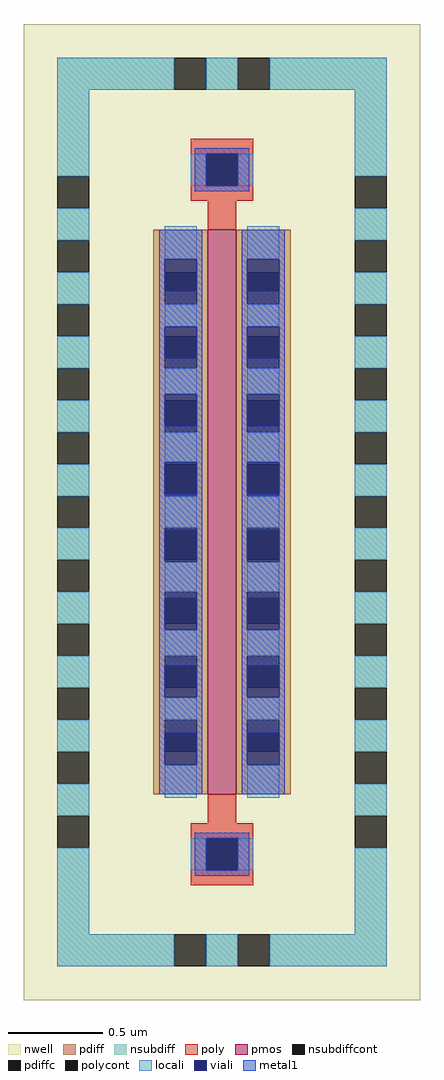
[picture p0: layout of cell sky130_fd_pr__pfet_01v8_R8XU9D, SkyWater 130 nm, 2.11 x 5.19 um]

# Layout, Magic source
magic
tech sky130A
magscale 1 2
<< nwell >>
rect -211 -519 211 519
<< pmos >>
rect -15 -300 15 300
<< pdiff >>
rect -73 255 -15 300
rect -73 221 -61 255
rect -27 221 -15 255
rect -73 187 -15 221
rect -73 153 -61 187
rect -27 153 -15 187
rect -73 119 -15 153
rect -73 85 -61 119
rect -27 85 -15 119
rect -73 51 -15 85
rect -73 17 -61 51
rect -27 17 -15 51
rect -73 -17 -15 17
rect -73 -51 -61 -17
rect -27 -51 -15 -17
rect -73 -85 -15 -51
rect -73 -119 -61 -85
rect -27 -119 -15 -85
rect -73 -153 -15 -119
rect -73 -187 -61 -153
rect -27 -187 -15 -153
rect -73 -221 -15 -187
rect -73 -255 -61 -221
rect -27 -255 -15 -221
rect -73 -300 -15 -255
rect 15 255 73 300
rect 15 221 27 255
rect 61 221 73 255
rect 15 187 73 221
rect 15 153 27 187
rect 61 153 73 187
rect 15 119 73 153
rect 15 85 27 119
rect 61 85 73 119
rect 15 51 73 85
rect 15 17 27 51
rect 61 17 73 51
rect 15 -17 73 17
rect 15 -51 27 -17
rect 61 -51 73 -17
rect 15 -85 73 -51
rect 15 -119 27 -85
rect 61 -119 73 -85
rect 15 -153 73 -119
rect 15 -187 27 -153
rect 61 -187 73 -153
rect 15 -221 73 -187
rect 15 -255 27 -221
rect 61 -255 73 -221
rect 15 -300 73 -255
<< pdiffc >>
rect -61 221 -27 255
rect -61 153 -27 187
rect -61 85 -27 119
rect -61 17 -27 51
rect -61 -51 -27 -17
rect -61 -119 -27 -85
rect -61 -187 -27 -153
rect -61 -255 -27 -221
rect 27 221 61 255
rect 27 153 61 187
rect 27 85 61 119
rect 27 17 61 51
rect 27 -51 61 -17
rect 27 -119 61 -85
rect 27 -187 61 -153
rect 27 -255 61 -221
<< nsubdiff >>
rect -175 449 -51 483
rect -17 449 17 483
rect 51 449 175 483
rect -175 357 -141 449
rect 141 357 175 449
rect -175 289 -141 323
rect -175 221 -141 255
rect -175 153 -141 187
rect -175 85 -141 119
rect -175 17 -141 51
rect -175 -51 -141 -17
rect -175 -119 -141 -85
rect -175 -187 -141 -153
rect -175 -255 -141 -221
rect -175 -323 -141 -289
rect 141 289 175 323
rect 141 221 175 255
rect 141 153 175 187
rect 141 85 175 119
rect 141 17 175 51
rect 141 -51 175 -17
rect 141 -119 175 -85
rect 141 -187 175 -153
rect 141 -255 175 -221
rect 141 -323 175 -289
rect -175 -449 -141 -357
rect 141 -449 175 -357
rect -175 -483 -51 -449
rect -17 -483 17 -449
rect 51 -483 175 -449
<< nsubdiffcont >>
rect -51 449 -17 483
rect 17 449 51 483
rect -175 323 -141 357
rect 141 323 175 357
rect -175 255 -141 289
rect -175 187 -141 221
rect -175 119 -141 153
rect -175 51 -141 85
rect -175 -17 -141 17
rect -175 -85 -141 -51
rect -175 -153 -141 -119
rect -175 -221 -141 -187
rect -175 -289 -141 -255
rect 141 255 175 289
rect 141 187 175 221
rect 141 119 175 153
rect 141 51 175 85
rect 141 -17 175 17
rect 141 -85 175 -51
rect 141 -153 175 -119
rect 141 -221 175 -187
rect 141 -289 175 -255
rect -175 -357 -141 -323
rect 141 -357 175 -323
rect -51 -483 -17 -449
rect 17 -483 51 -449
<< poly >>
rect -33 381 33 397
rect -33 347 -17 381
rect 17 347 33 381
rect -33 331 33 347
rect -15 300 15 331
rect -15 -331 15 -300
rect -33 -347 33 -331
rect -33 -381 -17 -347
rect 17 -381 33 -347
rect -33 -397 33 -381
<< polycont >>
rect -17 347 17 381
rect -17 -381 17 -347
<< locali >>
rect -175 449 -51 483
rect -17 449 17 483
rect 51 449 175 483
rect -175 357 -141 449
rect -33 347 -17 381
rect 17 347 33 381
rect 141 357 175 449
rect -175 289 -141 323
rect -175 221 -141 255
rect -175 153 -141 187
rect -175 85 -141 119
rect -175 17 -141 51
rect -175 -51 -141 -17
rect -175 -119 -141 -85
rect -175 -187 -141 -153
rect -175 -255 -141 -221
rect -175 -323 -141 -289
rect -61 269 -27 304
rect -61 197 -27 221
rect -61 125 -27 153
rect -61 53 -27 85
rect -61 -17 -27 17
rect -61 -85 -27 -53
rect -61 -153 -27 -125
rect -61 -221 -27 -197
rect -61 -304 -27 -269
rect 27 269 61 304
rect 27 197 61 221
rect 27 125 61 153
rect 27 53 61 85
rect 27 -17 61 17
rect 27 -85 61 -53
rect 27 -153 61 -125
rect 27 -221 61 -197
rect 27 -304 61 -269
rect 141 289 175 323
rect 141 221 175 255
rect 141 153 175 187
rect 141 85 175 119
rect 141 17 175 51
rect 141 -51 175 -17
rect 141 -119 175 -85
rect 141 -187 175 -153
rect 141 -255 175 -221
rect 141 -323 175 -289
rect -175 -449 -141 -357
rect -33 -381 -17 -347
rect 17 -381 33 -347
rect 141 -449 175 -357
rect -175 -483 -51 -449
rect -17 -483 17 -449
rect 51 -483 175 -449
<< viali >>
rect -17 347 17 381
rect -61 255 -27 269
rect -61 235 -27 255
rect -61 187 -27 197
rect -61 163 -27 187
rect -61 119 -27 125
rect -61 91 -27 119
rect -61 51 -27 53
rect -61 19 -27 51
rect -61 -51 -27 -19
rect -61 -53 -27 -51
rect -61 -119 -27 -91
rect -61 -125 -27 -119
rect -61 -187 -27 -163
rect -61 -197 -27 -187
rect -61 -255 -27 -235
rect -61 -269 -27 -255
rect 27 255 61 269
rect 27 235 61 255
rect 27 187 61 197
rect 27 163 61 187
rect 27 119 61 125
rect 27 91 61 119
rect 27 51 61 53
rect 27 19 61 51
rect 27 -51 61 -19
rect 27 -53 61 -51
rect 27 -119 61 -91
rect 27 -125 61 -119
rect 27 -187 61 -163
rect 27 -197 61 -187
rect 27 -255 61 -235
rect 27 -269 61 -255
rect -17 -381 17 -347
<< metal1 >>
rect -29 381 29 387
rect -29 347 -17 381
rect 17 347 29 381
rect -29 341 29 347
rect -67 269 -21 300
rect -67 235 -61 269
rect -27 235 -21 269
rect -67 197 -21 235
rect -67 163 -61 197
rect -27 163 -21 197
rect -67 125 -21 163
rect -67 91 -61 125
rect -27 91 -21 125
rect -67 53 -21 91
rect -67 19 -61 53
rect -27 19 -21 53
rect -67 -19 -21 19
rect -67 -53 -61 -19
rect -27 -53 -21 -19
rect -67 -91 -21 -53
rect -67 -125 -61 -91
rect -27 -125 -21 -91
rect -67 -163 -21 -125
rect -67 -197 -61 -163
rect -27 -197 -21 -163
rect -67 -235 -21 -197
rect -67 -269 -61 -235
rect -27 -269 -21 -235
rect -67 -300 -21 -269
rect 21 269 67 300
rect 21 235 27 269
rect 61 235 67 269
rect 21 197 67 235
rect 21 163 27 197
rect 61 163 67 197
rect 21 125 67 163
rect 21 91 27 125
rect 61 91 67 125
rect 21 53 67 91
rect 21 19 27 53
rect 61 19 67 53
rect 21 -19 67 19
rect 21 -53 27 -19
rect 61 -53 67 -19
rect 21 -91 67 -53
rect 21 -125 27 -91
rect 61 -125 67 -91
rect 21 -163 67 -125
rect 21 -197 27 -163
rect 61 -197 67 -163
rect 21 -235 67 -197
rect 21 -269 27 -235
rect 61 -269 67 -235
rect 21 -300 67 -269
rect -29 -347 29 -341
rect -29 -381 -17 -347
rect 17 -381 29 -347
rect -29 -387 29 -381
<< properties >>
string FIXED_BBOX -158 -466 158 466
<< end >>
